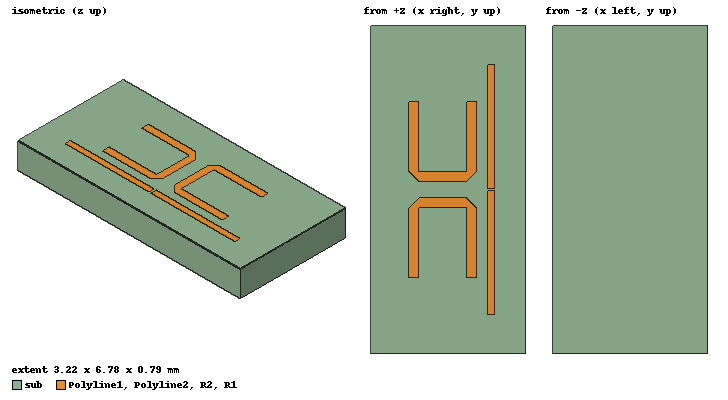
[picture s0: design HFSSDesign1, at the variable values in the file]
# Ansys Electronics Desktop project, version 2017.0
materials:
  vacuum: permittivity=1
  TLX0: permittivity=2.45 dielectric_loss_tangent=0.0019

design HFSSDesign1 (HFSS, DrivenModal, model units mm)
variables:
  l1 = 2.56mm
  l2 = 1.65mm
  w2 = 0.2mm
  h = 1mm
  s3 = 0.06mm
  s1 = 0.06mm
  s2 = 0.35mm
  w1 = 0.16mm
  p = 1.6mm
  w = w1+s3+w2+h+w2+p
  l = l1+s1+l1+p
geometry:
  sub [TLX0] = box(corner=(0mm, 0mm, 0mm), size=(w, l, 0.79mm))
  R1 = rectangle(corner=(w-p/2, p/2, 0.79mm), x_size=w1, y_size=l1)
  R2 = rectangle(corner=(w-p/2, p/2+l1+s1, 0.79mm), x_size=w1, y_size=l1)
  Polyline1 = polyline(z=0.79mm, xy: (w-p/2-w1-s3, l/2-s2/2-l2) (w-p/2-w1-s3, l/2-s2/2-w2) (w-p/2-w1-s3-w2, l/2-s2/2) (w-p/2-w1-s3-w2-h, l/2-s2/2) (w-p/2-w1-s3-w2-h-w2, l/2-s2/2-w2) (w-p/2-w1-s3-w2-h-w2, l/2-s2/2-l2) (w-p/2-w1-s3-w2-h, l/2-s2/2-l2) (w-p/2-w1-s3-w2-h, l/2-s2/2-w2) (w-p/2-w1-s3-w2, l/2-s2/2-w2) (w-p/2-w1-s3-w2, l/2-s2/2-l2) (w-p/2-w1-s3, l/2-s2/2-l2), closed, covered)
  Polyline2 = polyline(z=0.79mm, xy: (w-p/2-w1-s3, l/2+s2/2+l2) (w-p/2-w1-s3, l/2+s2/2+w2) (w-p/2-w1-s3-w2, l/2+s2/2) (w-p/2-w1-s3-w2-h, l/2+s2/2) (w-p/2-w1-s3-w2-h-w2, l/2+s2/2+w2) (w-p/2-w1-s3-w2-h-w2, l/2+s2/2+l2) (w-p/2-w1-s3-w2-h, l/2+s2/2+l2) (w-p/2-w1-s3-w2-h, l/2+s2/2+w2) (w-p/2-w1-s3-w2, l/2+s2/2+w2) (w-p/2-w1-s3-w2, l/2+s2/2+l2) (w-p/2-w1-s3, l/2+s2/2+l2), closed, covered)
  p1 = rectangle(corner=(w-p/2, p/2, 0.79mm), z_size=-0.79mm, x_size=w1)
  p2 = rectangle(corner=(w-p/2, p/2+l1+s1+l1, 0.79mm), z_size=-0.79mm, x_size=w1)
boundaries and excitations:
  PerfE1: Perfect E Objects=[Polyline1, Polyline2, R1, R2]
  1: Lumped Port Objects=p1 Modes{Mode1{IntLine{middle of p1.edge(z opposite corner) -> middle of p1.edge(z at corner)} CharImp=Zpi RenormImp=50ohm}} Impedance=50ohm
  2: Lumped Port Objects=p2 Modes{Mode1{IntLine{middle of p2.edge(z opposite corner) -> middle of p2.edge(z at corner)} CharImp=Zpi RenormImp=50ohm}} Impedance=50ohm
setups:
  Setup1: HfssDriven Frequency=34GHz MaxDeltaS=0.02 MaximumPasses=6 MinimumPasses=1 MinimumConvergedPasses=1 PercentRefinement=30 BasisOrder=1 PortAccuracy=2 RayDensityPerWavelength=4 MaxNumberOfBounces=5
    sweep Sweep: 32GHz to 36GHz, 80 points; Type=Interpolating InterpTolerance=0.5 InterpMaxSolns=250 InterpUsePortImped=false PassivityErrorTolerance=0.0001
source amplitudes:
  1:1: 1W 0deg
  2:1: 0W 0deg
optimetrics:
  ParametricSetup1: Parametric Sim._Setups=[Setup1]
    sweep s1: LIN 0.01mm 0.21mm 0.04mm
    sweep s2: LIN 0.26mm 0.46mm 0.04mm
    sweep w1: LIN 0.01mm 0.21mm 0.02mm
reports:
  XY Plot 1: dB(S(1,2)) vs Freq on Setup1 : Sweep [s1=0.06mm s2=0.35mm w1=0.16mm]
  XY Plot 2: ang_deg(S(1,1)) vs Freq on Setup1 : Sweep [s1=0.06mm s2=0.35mm w1=0.16mm]
  XY Plot 3: ang_deg(S(1,2)) vs Freq on Setup1 : Sweep [s1=0.06mm s2=0.35mm w1=0.16mm]
  XY Plot 4: dB(S(1,1)) vs Freq on Setup1 : Sweep [s1=0.06mm s2=0.35mm w1=0.16mm]
